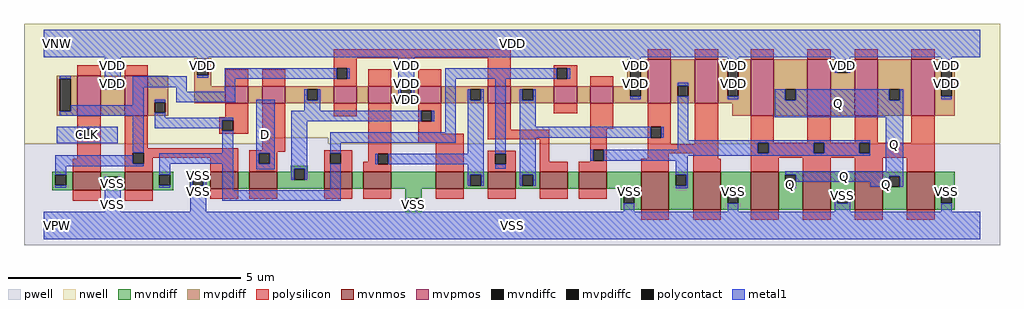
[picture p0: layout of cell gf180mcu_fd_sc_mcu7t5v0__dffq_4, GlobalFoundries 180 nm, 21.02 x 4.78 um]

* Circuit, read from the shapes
.subckt gf180mcu_fd_sc_mcu7t5v0__dffq_4 D CLK Q VDD VNW VPW VSS
XM1 VSS CLK n1 VPW nfet_06v0 w=0.405u l=0.6u
XM2 n2 n1 VSS VPW nfet_06v0 w=0.405u l=0.6u
XM3 n3 n1 VSS VPW nfet_06v0 w=0.36u l=0.6u
XM4 n4 D n3 VPW nfet_06v0 w=0.36u l=0.6u
XM5 n5 n2 n4 VPW nfet_06v0 w=0.36u l=0.6u
XM6 VSS n6 n5 VPW nfet_06v0 w=0.36u l=0.6u
XM7 n6 n4 VSS VPW nfet_06v0 w=0.36u l=0.6u
XM8 n7 n2 n6 VPW nfet_06v0 w=0.36u l=0.6u
XM9 n8 n1 n7 VPW nfet_06v0 w=0.36u l=0.6u
XM10 VSS n9 n8 VPW nfet_06v0 w=0.36u l=0.6u
XM11 n9 n7 VSS VPW nfet_06v0 w=0.815u l=0.6u m=2
XM12 Q n9 VSS VPW nfet_06v0 w=0.815u l=0.6u m=4
XM13 VDD CLK n1 VNW pfet_06v0 w=0.865u l=0.5u
XM14 n2 n1 VDD VNW pfet_06v0 w=0.865u l=0.5u
XM15 n10 n2 VDD VNW pfet_06v0 w=0.36u l=0.5u
XM16 n4 D n10 VNW pfet_06v0 w=0.36u l=0.5u
XM17 n11 n1 n4 VNW pfet_06v0 w=0.36u l=0.5u
XM18 VDD n6 n11 VNW pfet_06v0 w=0.36u l=0.5u
XM19 n6 n4 VDD VNW pfet_06v0 w=0.36u l=0.5u
XM20 n7 n1 n6 VNW pfet_06v0 w=0.36u l=0.5u
XM21 n12 n2 n7 VNW pfet_06v0 w=0.36u l=0.5u
XM22 VDD n9 n12 VNW pfet_06v0 w=0.36u l=0.5u
XM23 n9 n7 VDD VNW pfet_06v0 w=0.945u l=0.5u m=2
XM24 Q n9 VDD VNW pfet_06v0 w=1.22u l=0.5u m=4
.ends

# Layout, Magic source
magic
tech gf180mcuD
magscale 1 10
<< nwell >>
rect -86 377 4118 870
rect -86 352 973 377
rect 1224 352 4118 377
<< pwell >>
rect 973 352 1224 377
rect -86 -86 4118 352
<< mvnmos >>
rect 124 151 244 232
rect 348 151 468 232
rect 716 159 836 231
rect 884 159 1004 231
rect 1208 159 1328 231
rect 1376 159 1496 231
rect 1688 159 1808 231
rect 1912 159 2032 231
rect 2136 159 2256 231
rect 2304 159 2424 231
rect 2572 68 2692 231
rect 2796 68 2916 231
rect 3044 68 3164 231
rect 3268 68 3388 231
rect 3492 68 3612 231
rect 3716 68 3836 231
<< mvpmos >>
rect 144 472 244 645
rect 348 472 448 645
rect 780 527 880 599
rect 940 527 1040 599
rect 1248 527 1348 599
rect 1396 527 1496 599
rect 1612 527 1712 599
rect 1911 527 2011 599
rect 2196 527 2296 599
rect 2352 527 2452 599
rect 2600 527 2700 716
rect 2804 527 2904 716
rect 3044 472 3144 716
rect 3288 472 3388 716
rect 3492 472 3592 716
rect 3736 472 3836 716
<< mvndiff >>
rect 36 219 124 232
rect 36 173 49 219
rect 95 173 124 219
rect 36 151 124 173
rect 244 210 348 232
rect 244 164 273 210
rect 319 164 348 210
rect 244 151 348 164
rect 468 219 556 232
rect 1064 244 1136 257
rect 1064 231 1077 244
rect 468 173 497 219
rect 543 173 556 219
rect 468 151 556 173
rect 628 218 716 231
rect 628 172 641 218
rect 687 172 716 218
rect 628 159 716 172
rect 836 159 884 231
rect 1004 198 1077 231
rect 1123 231 1136 244
rect 1123 198 1208 231
rect 1004 159 1208 198
rect 1328 159 1376 231
rect 1496 159 1688 231
rect 1808 218 1912 231
rect 1808 172 1837 218
rect 1883 172 1912 218
rect 1808 159 1912 172
rect 2032 218 2136 231
rect 2032 172 2061 218
rect 2107 172 2136 218
rect 2032 159 2136 172
rect 2256 159 2304 231
rect 2424 159 2572 231
rect 1556 117 1628 159
rect 1556 71 1569 117
rect 1615 71 1628 117
rect 2484 142 2572 159
rect 1556 58 1628 71
rect 2484 96 2497 142
rect 2543 96 2572 142
rect 2484 68 2572 96
rect 2692 218 2796 231
rect 2692 172 2721 218
rect 2767 172 2796 218
rect 2692 68 2796 172
rect 2916 142 3044 231
rect 2916 96 2945 142
rect 2991 96 3044 142
rect 2916 68 3044 96
rect 3164 218 3268 231
rect 3164 172 3193 218
rect 3239 172 3268 218
rect 3164 68 3268 172
rect 3388 142 3492 231
rect 3388 96 3417 142
rect 3463 96 3492 142
rect 3388 68 3492 96
rect 3612 213 3716 231
rect 3612 167 3641 213
rect 3687 167 3716 213
rect 3612 68 3716 167
rect 3836 142 3924 231
rect 3836 96 3865 142
rect 3911 96 3924 142
rect 3836 68 3924 96
<< mvpdiff >>
rect 648 694 720 720
rect 648 648 661 694
rect 707 648 720 694
rect 56 632 144 645
rect 56 492 69 632
rect 115 492 144 632
rect 56 472 144 492
rect 244 632 348 645
rect 244 586 273 632
rect 319 586 348 632
rect 244 472 348 586
rect 448 531 536 645
rect 448 485 477 531
rect 523 485 536 531
rect 648 599 720 648
rect 2512 697 2600 716
rect 2512 599 2525 697
rect 648 527 780 599
rect 880 527 940 599
rect 1040 586 1248 599
rect 1040 540 1133 586
rect 1179 540 1248 586
rect 1040 527 1248 540
rect 1348 527 1396 599
rect 1496 586 1612 599
rect 1496 540 1537 586
rect 1583 540 1612 586
rect 1496 527 1612 540
rect 1712 586 1911 599
rect 1712 540 1836 586
rect 1882 540 1911 586
rect 1712 527 1911 540
rect 2011 586 2196 599
rect 2011 540 2061 586
rect 2107 540 2196 586
rect 2011 527 2196 540
rect 2296 527 2352 599
rect 2452 557 2525 599
rect 2571 557 2600 697
rect 2452 527 2600 557
rect 2700 603 2804 716
rect 2700 557 2729 603
rect 2775 557 2804 603
rect 2700 527 2804 557
rect 2904 697 3044 716
rect 2904 557 2945 697
rect 2991 557 3044 697
rect 2904 527 3044 557
rect 448 472 536 485
rect 2964 472 3044 527
rect 3144 586 3288 716
rect 3144 540 3193 586
rect 3239 540 3288 586
rect 3144 472 3288 540
rect 3388 703 3492 716
rect 3388 657 3417 703
rect 3463 657 3492 703
rect 3388 472 3492 657
rect 3592 586 3736 716
rect 3592 540 3641 586
rect 3687 540 3736 586
rect 3592 472 3736 540
rect 3836 697 3924 716
rect 3836 557 3865 697
rect 3911 557 3924 697
rect 3836 472 3924 557
<< mvndiffc >>
rect 49 173 95 219
rect 273 164 319 210
rect 497 173 543 219
rect 641 172 687 218
rect 1077 198 1123 244
rect 1837 172 1883 218
rect 2061 172 2107 218
rect 1569 71 1615 117
rect 2497 96 2543 142
rect 2721 172 2767 218
rect 2945 96 2991 142
rect 3193 172 3239 218
rect 3417 96 3463 142
rect 3641 167 3687 213
rect 3865 96 3911 142
<< mvpdiffc >>
rect 661 648 707 694
rect 69 492 115 632
rect 273 586 319 632
rect 477 485 523 531
rect 1133 540 1179 586
rect 1537 540 1583 586
rect 1836 540 1882 586
rect 2061 540 2107 586
rect 2525 557 2571 697
rect 2729 557 2775 603
rect 2945 557 2991 697
rect 3193 540 3239 586
rect 3417 657 3463 703
rect 3641 540 3687 586
rect 3865 557 3911 697
<< polysilicon >>
rect 1248 720 2011 760
rect 144 645 244 690
rect 348 645 448 690
rect 1248 678 1348 720
rect 780 599 880 672
rect 940 599 1040 672
rect 1248 632 1261 678
rect 1307 632 1348 678
rect 1248 599 1348 632
rect 1396 599 1496 672
rect 1612 599 1712 672
rect 1911 599 2011 720
rect 2600 716 2700 760
rect 2804 716 2904 760
rect 3044 716 3144 760
rect 3288 716 3388 760
rect 3492 716 3592 760
rect 3736 716 3836 760
rect 2196 678 2296 691
rect 2196 632 2209 678
rect 2255 632 2296 678
rect 2196 599 2296 632
rect 2352 599 2452 643
rect 144 416 244 472
rect 144 370 157 416
rect 203 370 244 416
rect 144 288 244 370
rect 124 232 244 288
rect 348 332 448 472
rect 780 467 880 527
rect 756 454 880 467
rect 756 408 769 454
rect 815 408 880 454
rect 756 395 880 408
rect 348 313 836 332
rect 940 324 1040 527
rect 1248 471 1348 527
rect 348 267 383 313
rect 429 292 836 313
rect 429 267 468 292
rect 348 232 468 267
rect 716 231 836 292
rect 884 317 1040 324
rect 884 311 1004 317
rect 884 265 926 311
rect 972 265 1004 311
rect 884 231 1004 265
rect 1208 311 1328 324
rect 1208 265 1233 311
rect 1279 265 1328 311
rect 1396 310 1496 527
rect 1612 494 1712 527
rect 1612 448 1625 494
rect 1671 448 1712 494
rect 1612 396 1712 448
rect 1911 412 2011 527
rect 2196 483 2296 527
rect 2352 416 2452 527
rect 2600 425 2700 527
rect 1612 356 1808 396
rect 1911 372 2176 412
rect 1396 275 1437 310
rect 1208 231 1328 265
rect 1376 264 1437 275
rect 1483 264 1496 310
rect 1376 231 1496 264
rect 1688 231 1808 356
rect 1912 310 2032 323
rect 1912 264 1944 310
rect 1990 264 2032 310
rect 1912 231 2032 264
rect 2136 275 2176 372
rect 2352 326 2424 416
rect 2352 280 2365 326
rect 2411 280 2424 326
rect 2600 379 2613 425
rect 2659 379 2700 425
rect 2600 351 2700 379
rect 2804 351 2904 527
rect 2600 311 2904 351
rect 2600 288 2692 311
rect 2352 275 2424 280
rect 2136 231 2256 275
rect 2304 231 2424 275
rect 2572 231 2692 288
rect 2796 288 2904 311
rect 3044 357 3144 472
rect 3288 357 3388 472
rect 3492 357 3592 472
rect 3736 357 3836 472
rect 3044 311 3075 357
rect 3121 311 3315 357
rect 3361 311 3512 357
rect 3558 311 3836 357
rect 3044 291 3836 311
rect 2796 231 2916 288
rect 3044 231 3164 291
rect 3268 231 3388 291
rect 3492 231 3612 291
rect 3716 231 3836 291
rect 124 107 244 151
rect 348 107 468 151
rect 716 115 836 159
rect 884 115 1004 159
rect 1208 115 1328 159
rect 1376 115 1496 159
rect 1688 115 1808 159
rect 1912 115 2032 159
rect 2136 115 2256 159
rect 2304 115 2424 159
rect 2572 24 2692 68
rect 2796 24 2916 68
rect 3044 24 3164 68
rect 3268 24 3388 68
rect 3492 24 3612 68
rect 3716 24 3836 68
<< polycontact >>
rect 1261 632 1307 678
rect 2209 632 2255 678
rect 157 370 203 416
rect 769 408 815 454
rect 383 267 429 313
rect 926 265 972 311
rect 1233 265 1279 311
rect 1625 448 1671 494
rect 1437 264 1483 310
rect 1944 264 1990 310
rect 2365 280 2411 326
rect 2613 379 2659 425
rect 3075 311 3121 357
rect 3315 311 3361 357
rect 3512 311 3558 357
<< metal1 >>
rect 0 724 4032 844
rect 69 632 115 645
rect 262 632 330 724
rect 661 694 707 724
rect 262 586 273 632
rect 319 586 330 632
rect 383 596 615 643
rect 661 637 707 648
rect 383 518 429 596
rect 569 577 615 596
rect 778 632 1261 678
rect 1307 632 1318 678
rect 778 577 824 632
rect 1526 586 1594 724
rect 2525 697 2571 724
rect 115 492 429 518
rect 69 472 429 492
rect 56 416 318 426
rect 56 370 157 416
rect 203 370 318 416
rect 56 354 318 370
rect 383 313 429 472
rect 477 531 523 542
rect 569 530 824 577
rect 477 465 523 485
rect 477 454 815 465
rect 477 418 769 454
rect 49 267 383 302
rect 769 311 815 408
rect 49 256 429 267
rect 497 265 815 311
rect 49 219 95 256
rect 497 219 543 265
rect 49 162 95 173
rect 262 164 273 210
rect 319 164 330 210
rect 262 60 330 164
rect 497 162 543 173
rect 630 172 641 218
rect 687 172 698 218
rect 630 60 698 172
rect 769 152 815 265
rect 914 311 995 542
rect 1122 540 1133 586
rect 1179 540 1190 586
rect 1526 540 1537 586
rect 1583 540 1594 586
rect 1728 632 2209 678
rect 2255 632 2266 678
rect 1122 494 1190 540
rect 914 265 926 311
rect 972 265 995 311
rect 914 242 995 265
rect 1065 448 1625 494
rect 1671 448 1682 494
rect 1065 244 1134 448
rect 1728 402 1774 632
rect 1065 198 1077 244
rect 1123 198 1134 244
rect 1233 356 1774 402
rect 1825 540 1836 586
rect 1882 540 1894 586
rect 1233 311 1279 356
rect 1825 310 1894 540
rect 1233 152 1279 265
rect 1426 264 1437 310
rect 1483 264 1894 310
rect 1826 218 1894 264
rect 1944 310 1990 632
rect 1944 245 1990 264
rect 2050 540 2061 586
rect 2107 540 2118 586
rect 2945 697 2991 724
rect 2525 544 2571 557
rect 2729 603 2775 614
rect 2050 426 2118 540
rect 2050 425 2670 426
rect 2050 379 2613 425
rect 2659 379 2670 425
rect 1826 172 1837 218
rect 1883 172 1894 218
rect 2050 218 2118 379
rect 2729 368 2775 557
rect 3406 703 3474 724
rect 3406 657 3417 703
rect 3463 657 3474 703
rect 3865 697 3911 724
rect 2945 544 2991 557
rect 3147 540 3193 586
rect 3239 540 3641 586
rect 3687 540 3702 586
rect 3865 544 3911 557
rect 3147 466 3702 540
rect 2729 357 3559 368
rect 2729 326 3075 357
rect 2354 280 2365 326
rect 2411 311 3075 326
rect 3121 311 3315 357
rect 3361 311 3512 357
rect 3558 311 3559 357
rect 2411 300 3559 311
rect 2411 280 2774 300
rect 2050 172 2061 218
rect 2107 172 2118 218
rect 2721 218 2774 280
rect 3626 234 3702 466
rect 2767 172 2774 218
rect 2721 161 2774 172
rect 3193 218 3702 234
rect 3239 213 3702 218
rect 3239 188 3641 213
rect 3193 161 3239 172
rect 3559 167 3641 188
rect 3687 167 3702 213
rect 769 106 1279 152
rect 2497 142 2543 153
rect 1558 71 1569 117
rect 1615 71 1626 117
rect 1558 60 1626 71
rect 2497 60 2543 96
rect 2945 142 2991 153
rect 3865 142 3911 153
rect 2945 60 2991 96
rect 3406 96 3417 142
rect 3463 96 3474 142
rect 3406 60 3474 96
rect 3865 60 3911 96
rect 0 -60 4032 60
<< labels >>
flabel metal1 s 914 242 995 542 0 FreeSans 600 0 0 0 D
port 1 nsew default input
flabel metal1 s 3147 466 3702 586 0 FreeSans 600 0 0 0 Q
port 3 nsew default output
flabel metal1 s 0 724 4032 844 0 FreeSans 600 0 0 0 VDD
port 4 nsew power bidirectional abutment
flabel metal1 s 630 210 698 218 0 FreeSans 600 0 0 0 VSS
port 7 nsew ground bidirectional abutment
flabel metal1 s 56 354 318 426 0 FreeSans 600 0 0 0 CLK
port 2 nsew clock input
flabel nwell s 10 734 110 834 0 FreeSans 400 0 0 0 VNW
port 5 nsew power bidirectional
flabel pwell s 10 -50 110 50 0 FreeSans 400 0 0 0 VPW
port 6 nsew ground bidirectional
rlabel metal1 s 3626 234 3702 466 1 Q
port 3 nsew default output
rlabel metal1 s 3193 188 3702 234 1 Q
port 3 nsew default output
rlabel metal1 s 3559 167 3702 188 1 Q
port 3 nsew default output
rlabel metal1 s 3193 167 3239 188 1 Q
port 3 nsew default output
rlabel metal1 s 3193 161 3239 167 1 Q
port 3 nsew default output
rlabel metal1 s 3865 657 3911 724 1 VDD
port 4 nsew power bidirectional abutment
rlabel metal1 s 3406 657 3474 724 1 VDD
port 4 nsew power bidirectional abutment
rlabel metal1 s 2945 657 2991 724 1 VDD
port 4 nsew power bidirectional abutment
rlabel metal1 s 2525 657 2571 724 1 VDD
port 4 nsew power bidirectional abutment
rlabel metal1 s 1526 657 1594 724 1 VDD
port 4 nsew power bidirectional abutment
rlabel metal1 s 661 657 707 724 1 VDD
port 4 nsew power bidirectional abutment
rlabel metal1 s 262 657 330 724 1 VDD
port 4 nsew power bidirectional abutment
rlabel metal1 s 3865 637 3911 657 1 VDD
port 4 nsew power bidirectional abutment
rlabel metal1 s 2945 637 2991 657 1 VDD
port 4 nsew power bidirectional abutment
rlabel metal1 s 2525 637 2571 657 1 VDD
port 4 nsew power bidirectional abutment
rlabel metal1 s 1526 637 1594 657 1 VDD
port 4 nsew power bidirectional abutment
rlabel metal1 s 661 637 707 657 1 VDD
port 4 nsew power bidirectional abutment
rlabel metal1 s 262 637 330 657 1 VDD
port 4 nsew power bidirectional abutment
rlabel metal1 s 3865 586 3911 637 1 VDD
port 4 nsew power bidirectional abutment
rlabel metal1 s 2945 586 2991 637 1 VDD
port 4 nsew power bidirectional abutment
rlabel metal1 s 2525 586 2571 637 1 VDD
port 4 nsew power bidirectional abutment
rlabel metal1 s 1526 586 1594 637 1 VDD
port 4 nsew power bidirectional abutment
rlabel metal1 s 262 586 330 637 1 VDD
port 4 nsew power bidirectional abutment
rlabel metal1 s 3865 544 3911 586 1 VDD
port 4 nsew power bidirectional abutment
rlabel metal1 s 2945 544 2991 586 1 VDD
port 4 nsew power bidirectional abutment
rlabel metal1 s 2525 544 2571 586 1 VDD
port 4 nsew power bidirectional abutment
rlabel metal1 s 1526 544 1594 586 1 VDD
port 4 nsew power bidirectional abutment
rlabel metal1 s 1526 540 1594 544 1 VDD
port 4 nsew power bidirectional abutment
rlabel metal1 s 630 153 698 210 1 VSS
port 7 nsew ground bidirectional abutment
rlabel metal1 s 262 153 330 210 1 VSS
port 7 nsew ground bidirectional abutment
rlabel metal1 s 3865 142 3911 153 1 VSS
port 7 nsew ground bidirectional abutment
rlabel metal1 s 2945 142 2991 153 1 VSS
port 7 nsew ground bidirectional abutment
rlabel metal1 s 2497 142 2543 153 1 VSS
port 7 nsew ground bidirectional abutment
rlabel metal1 s 630 142 698 153 1 VSS
port 7 nsew ground bidirectional abutment
rlabel metal1 s 262 142 330 153 1 VSS
port 7 nsew ground bidirectional abutment
rlabel metal1 s 3865 117 3911 142 1 VSS
port 7 nsew ground bidirectional abutment
rlabel metal1 s 3406 117 3474 142 1 VSS
port 7 nsew ground bidirectional abutment
rlabel metal1 s 2945 117 2991 142 1 VSS
port 7 nsew ground bidirectional abutment
rlabel metal1 s 2497 117 2543 142 1 VSS
port 7 nsew ground bidirectional abutment
rlabel metal1 s 630 117 698 142 1 VSS
port 7 nsew ground bidirectional abutment
rlabel metal1 s 262 117 330 142 1 VSS
port 7 nsew ground bidirectional abutment
rlabel metal1 s 3865 60 3911 117 1 VSS
port 7 nsew ground bidirectional abutment
rlabel metal1 s 3406 60 3474 117 1 VSS
port 7 nsew ground bidirectional abutment
rlabel metal1 s 2945 60 2991 117 1 VSS
port 7 nsew ground bidirectional abutment
rlabel metal1 s 2497 60 2543 117 1 VSS
port 7 nsew ground bidirectional abutment
rlabel metal1 s 1558 60 1626 117 1 VSS
port 7 nsew ground bidirectional abutment
rlabel metal1 s 630 60 698 117 1 VSS
port 7 nsew ground bidirectional abutment
rlabel metal1 s 262 60 330 117 1 VSS
port 7 nsew ground bidirectional abutment
rlabel metal1 s 0 -60 4032 60 1 VSS
port 7 nsew ground bidirectional abutment
<< properties >>
string FIXED_BBOX 0 0 4032 784
string GDS_END 989922
string GDS_FILE $PDKPATH/libs.ref/gf180mcu_fd_sc_mcu7t5v0/gds/gf180mcu_fd_sc_mcu7t5v0.gds
string GDS_START 981918
string LEFclass core
string LEFsite GF018hv5v_mcu_sc7
string LEFsymmetry X Y
<< end >>
